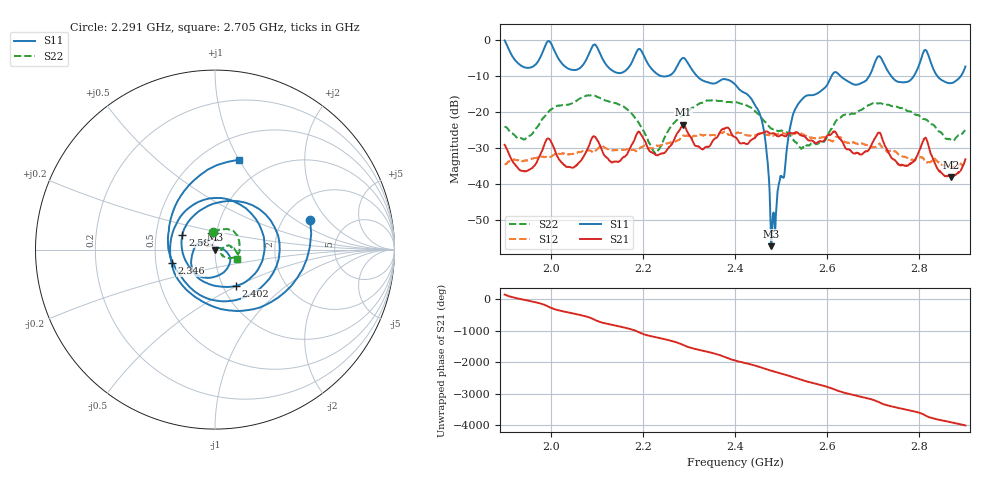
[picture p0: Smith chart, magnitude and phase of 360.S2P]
! C:\Users\rflab\Downloads\Lab5_KD_ZW\360.S2P
! Touchstone 1.1 file saved by VNA.EXE V1.65 (www.ke5fx.com/gpib/readme.htm)
! 11/12/2024 12:36:17 AM
!  Source: HEWLETT PACKARD,8753D,0,6.14
!  Min freq: 1.900000E+009 Hz
!  Max freq: 2.900000E+009 Hz
!  Points: 801
!  Params: S11 S21 S12 S22
# GHZ S RI R 50
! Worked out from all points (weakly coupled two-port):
!   801 points, 1.9 GHz to 2.9 GHz, reference 50 ohm
!   highest |S21| = -23.52 dB at 2.288 GHz (marker M1); lowest = -38.0 dB at 2.869 GHz (marker M2)
!   lowest |S11| = -57.3 dB at 2.479 GHz (marker M3), VSWR 1.00, Z = 50.1 + j0.029 ohm
!   |S11| at or under -10 dB: 2.318 GHz to 2.609 GHz (291.2 MHz wide, 11.8 % of centre); 2.629 GHz to 2.691 GHz (61.66 MHz wide, 2.32 % of centre); 2.839 GHz to 2.89 GHz (50.36 MHz wide, 1.76 % of centre) (the widest 3 of 5)
!   |S22| runs from -31.5 to -15.3 dB; largest |S21 - S12| = 0.024
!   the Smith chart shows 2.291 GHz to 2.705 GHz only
!   S11 on the Smith chart (normalised r, x): 2.291 GHz: 2.79, +1.32; 2.346 GHz: 0.60, -0.10; 2.402 GHz: 1.16, -0.49; 2.587 GHz: 0.68, +0.12; 2.705 GHz: 0.73, +1.00
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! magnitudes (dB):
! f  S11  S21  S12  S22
! 1.9 GHz  0.0  -29.1  -34.5  -24.0
! 1.939 GHz  -7.3  -36.3  -33.7  -27.4
! 1.994 GHz  -0.3  -27.3  -32.5  -20.1
! 2.067 GHz  -7.2  -33.1  -31.0  -16.0
! 2.191 GHz  -2.4  -25.4  -30.2  -23.0
! 2.234 GHz  -9.6  -31.9  -29.3  -30.5
! 2.288 GHz  -4.9  -23.5  -26.5  -20.7
! 2.291 GHz  -5.1  -24.0  -26.6  -20.3
! 2.346 GHz  -11.9  -29.2  -26.5  -16.7
! 2.4 GHz  -12.2  -26.9  -26.3  -17.3
! 2.402 GHz  -12.6  -27.1  -25.9  -17.3
! 2.456 GHz  -21.5  -25.9  -25.9  -21.4
! 2.479 GHz  -57.3  -26.0  -26.8  -24.5
! 2.527 GHz  -20.1  -25.9  -26.0  -27.9
! 2.567 GHz  -15.3  -27.9  -27.1  -28.4
! 2.587 GHz  -14.0  -28.2  -27.1  -28.3
! 2.705 GHz  -5.7  -27.0  -29.7  -17.5
! 2.734 GHz  -9.0  -31.4  -31.0  -18.0
! 2.777 GHz  -11.4  -34.6  -33.1  -19.7
! 2.814 GHz  -2.7  -27.1  -34.0  -22.0
! 2.869 GHz  -11.9  -38.0  -35.2  -27.7
! 2.9 GHz  -7.3  -33.1  -35.2  -25.0
